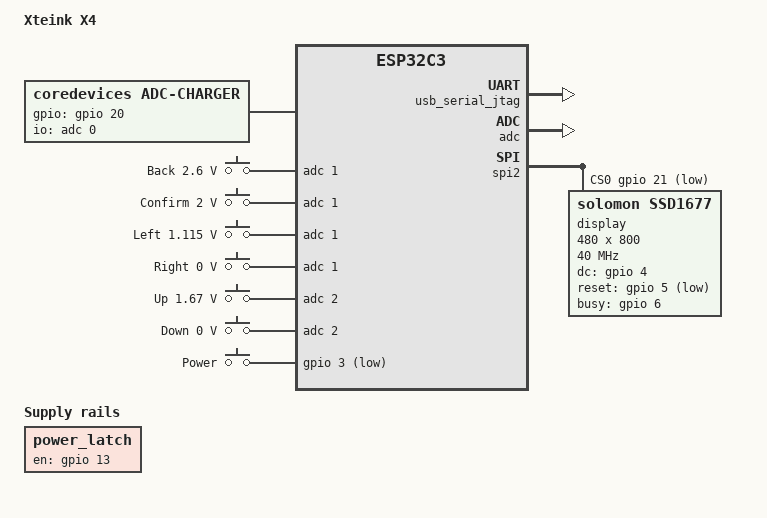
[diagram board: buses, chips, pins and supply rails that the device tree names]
// SPDX-FileCopyrightText: 2026 Core Devices LLC
// SPDX-License-Identifier: (GPL-2.0-only OR BSD-2-Clause)

/dts-v1/;

// Xteink X4 e-reader: an ESP32-C3 (QFN32, 40 MHz crystal) with 16 MiB of flash in DIO mode, an
// 800x480 e-paper panel and a microSD slot on one SPI bus, keys on two ADC ladders, and a power
// latch that keeps the battery connected. The console is the USB-Serial-JTAG port: UART0's pins
// are the panel's chip select (GPIO21) and the USB detect input (GPIO20).

#include <dt-bindings/gpio/gpio.h>
#include <dt-bindings/input/input.h>
#include <dt-bindings/pinctrl/esp32c3-pinctrl.h>

#include "espressif/esp32c3.dtsi"

/ {
	model = "Xteink X4";
	compatible = "xteink,x4", "esp,esp32c3";

	chosen {
		stdout-path = &usb_serial_jtag;
	};

	// The battery reaches the board through a MOSFET this pin holds on: driven high from reset,
	// it keeps the board powered once the power button is released
	power_latch: regulator-latch {
		compatible = "regulator-fixed";
		regulator-name = "latch";
		gpios = <&gpio 13 GPIO_ACTIVE_HIGH>;
		enable-active-high;
		regulator-always-on;
	};

	// A TP4056 with its status pins not connected: GPIO20 is high while USB is present, and the
	// battery reaches ADC channel 0 through two equal resistors
	charger: charger {
		compatible = "coredevices,adc-charger";
		gpios = <&gpio 20 GPIO_ACTIVE_HIGH>;
		io-channels = <&adc 0>;
		output-ohms = <10000>;
		full-ohms = <20000>;
	};

	// Six keys on two ladders that pull an ADC input down from about 3.3 V, the input clipping
	// at full scale with none pressed. Press voltages are the mean of those other X4 projects
	// measured; the nearest one wins, so each key's band ends halfway to its neighbour's. Key-up
	// is full scale as one unit's eFuse calibration reads it, 4095 x 1370 / 1851 mV.
	keys_a: adc-keys-a {
		compatible = "adc-keys";
		io-channels = <&adc 1>;
		io-channel-names = "buttons";
		keyup-threshold-microvolt = <3030000>;
		poll-interval = <15>;

		button-back {
			label = "Back";
			linux,code = <KEY_BACK>;
			press-threshold-microvolt = <2600000>;
		};

		button-confirm {
			label = "Confirm";
			linux,code = <KEY_SELECT>;
			press-threshold-microvolt = <2000000>;
		};

		// Left and Right, side by side under the panel, as a second Up and Down
		button-left {
			label = "Left";
			linux,code = <KEY_UP>;
			press-threshold-microvolt = <1115000>;
		};

		button-right {
			label = "Right";
			linux,code = <KEY_DOWN>;
			press-threshold-microvolt = <0>;
		};
	};

	keys_b: adc-keys-b {
		compatible = "adc-keys";
		io-channels = <&adc 2>;
		io-channel-names = "buttons";
		keyup-threshold-microvolt = <3030000>;
		poll-interval = <15>;

		button-up {
			label = "Up";
			linux,code = <KEY_UP>;
			press-threshold-microvolt = <1670000>;
		};

		button-down {
			label = "Down";
			linux,code = <KEY_DOWN>;
			press-threshold-microvolt = <0>;
		};
	};

	// The side power key, active low with a pull-up on the board
	gpio-keys {
		compatible = "gpio-keys";

		button-power {
			label = "Power";
			gpios = <&gpio 3 GPIO_ACTIVE_LOW>;
			linux,code = <KEY_POWER>;
			debounce-interval = <20>;
		};
	};

	// 16 MiB SPI NOR (JEDEC ID 0x85 0x2018), of which the ROM maps the first 4 MiB for a direct boot
	flash0: flash@0 {
		compatible = "esp,esp32c3-flash";
		reg = <0x0 0x1000000>;

		partitions {
			compatible = "fixed-partitions";
			#address-cells = <1>;
			#size-cells = <1>;

			// Where the ROM boots from
			partition@0 {
				label = "code";
				reg = <0x0 0x400000>;
			};
		};
	};
};

&gpio {
	status = "okay";
};

&usb_serial_jtag {
	status = "okay";
};

// Channel 0 is the battery through a divider of two, 1 and 2 the key ladders; all at 11 dB
&adc {
	pinctrl-0 = <&adc_default>;
	pinctrl-names = "default";
	esp,attenuation = <3 3 3 3 3>;
	status = "okay";
};

&io_mux {
	// The battery (GPIO0, half the cell voltage) and the two key ladders (GPIO1, GPIO2): no
	// pulls, no input buffer. GPIO2 is a strapping pin, sampled only at reset.
	adc_default: adc-default-state {
		analog-pins {
			pinmux = <ESP32C3_PINMUX(0, ESP32C3_NOSIG, ESP32C3_NOSIG)>,
				 <ESP32C3_PINMUX(1, ESP32C3_NOSIG, ESP32C3_NOSIG)>,
				 <ESP32C3_PINMUX(2, ESP32C3_NOSIG, ESP32C3_NOSIG)>;
			bias-disable;
		};
	};

	spi2_default: spi2-default-state {
		// FSPICLK and FSPID out, through the GPIO matrix
		out-pins {
			pinmux = <ESP32C3_PINMUX(8, ESP32C3_NOSIG, 63)>,
				 <ESP32C3_PINMUX(10, ESP32C3_NOSIG, 65)>;
		};

		// FSPIQ in, the microSD card's only
		in-pins {
			pinmux = <ESP32C3_PINMUX(7, 64, ESP32C3_NOSIG)>;
			bias-pull-up;
		};
	};
};

// The panel and the microSD card share the bus: the card's chip select (GPIO12, free with the
// flash in DIO mode) is held high while there is no driver for it
&spi2 {
	pinctrl-0 = <&spi2_default>;
	pinctrl-names = "default";
	cs-gpios = <&gpio 21 GPIO_ACTIVE_LOW>, <&gpio 12 GPIO_ACTIVE_LOW>;
	status = "okay";

	// GDEQ0426T82 800x480 e-paper, mounted a quarter turn: 480x800 portrait, keys at the bottom
	display: display@0 {
		compatible = "solomon,ssd1677";
		reg = <0>;
		spi-max-frequency = <40000000>;
		dc-gpios = <&gpio 4 GPIO_ACTIVE_HIGH>;
		reset-gpios = <&gpio 5 GPIO_ACTIVE_LOW>;
		busy-gpios = <&gpio 6 GPIO_ACTIVE_HIGH>;
		width = <480>;
		height = <800>;
		panel-width = <480>;
		panel-height = <800>;
		rotation = <270>;
		// 5 + 5 frames, 198 ms, against 21 frames, 416 ms, for the panel's own
		fast-frames = <5>;
	};
};
